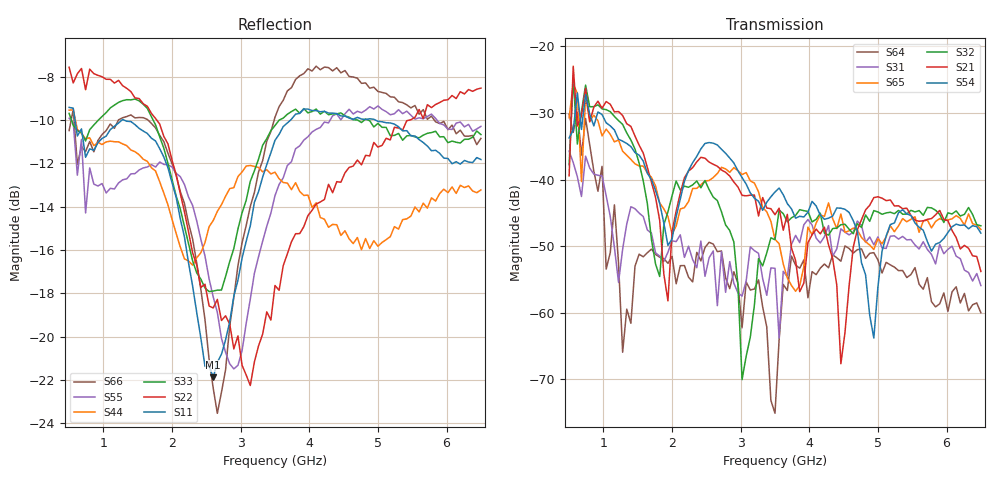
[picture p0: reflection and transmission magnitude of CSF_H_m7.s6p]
!Keysight Technologies,M9804A,MY58100912,A.14.10.03
!Date: Thursday, April 27, 2023 10:28:33
!Correction: S11(C  6-Port  )
!S12(C  6-Port  )
!S13(C  6-Port  )
!S14(C  6-Port  )
!S15(C  6-Port  )
!S16(C  6-Port  )
!S21(C  6-Port  )
!S22(C  6-Port  )
!S23(C  6-Port  )
!S24(C  6-Port  )
!S25(C  6-Port  )
!S26(C  6-Port  )
!S31(C  6-Port  )
!S32(C  6-Port  )
!S33(C  6-Port  )
!S34(C  6-Port  )
!S35(C  6-Port  )
!S36(C  6-Port  )
!S41(C  6-Port  )
!S42(C  6-Port  )
!S43(C  6-Port  )
!S44(C  6-Port  )
!S45(C  6-Port  )
!S46(C  6-Port  )
!S51(C  6-Port  )
!S52(C  6-Port  )
!S53(C  6-Port  )
!S54(C  6-Port  )
!S55(C  6-Port  )
!S56(C  6-Port  )
!S61(C  6-Port  )
!S62(C  6-Port  )
!S63(C  6-Port  )
!S64(C  6-Port  )
!S65(C  6-Port  )
!S66(C  6-Port  )
!S6P File: Measurement: :
# Hz S  RI  R 50
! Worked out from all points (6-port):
!   101 points, 500 MHz to 6.5 GHz, reference 50 ohm
!   strongest paths, dB at 500 MHz, 2 GHz, 3.5 GHz, 5 GHz, 6.5 GHz:
!     S54: -33.7, -48.9, -41.9, -56.1, -48.0
!     S21: -39.4, -47.8, -45.3, -42.6, -53.8
!     S32: -37.8, -42.4, -49.0, -44.9, -46.9
!     S65: -30.7, -48.2, -49.0, -48.9, -47.5
!     S31: -35.7, -49.2, -53.3, -48.6, -55.9
!     S64: -30.2, -51.5, -75.1, -52.1, -60.0
!   lowest |S11| = -21.9 dB at 2.6 GHz (marker M1), VSWR 1.18, Z = 42.8 + j1.97 ohm
!   |S11| at or under -10 dB: 585.8 MHz to 1.269 GHz (682.9 MHz wide, 73.7 % of centre); 1.303 GHz to 3.725 GHz (2.422 GHz wide, 96.4 % of centre); 4.966 GHz to end of sweep
